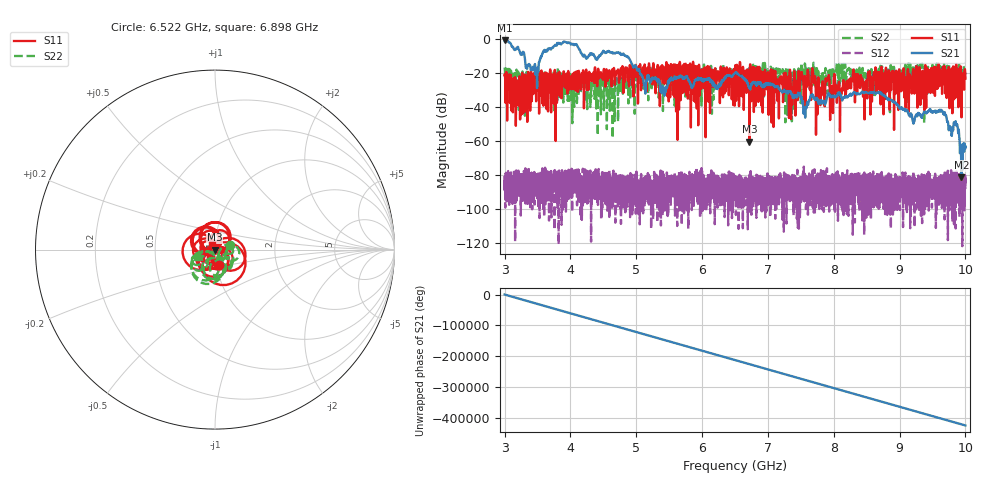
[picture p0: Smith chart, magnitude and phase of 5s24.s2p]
!Agilent Technologies,E8363B,MY43030572,A.06.04.32
!Agilent E8363B: A.06.04.32
!Date: Tuesday, June 07, 2011 08:15:35
!Correction: S11(Full 2 Port(1,2)) S21(Full 2 Port(1,2)) S12(Full 2 Port(1,2)) S22(Full 2 Port(1,2))
!S2P File: Measurements: S11, S21, S12, S22:
# Hz S  dB  R 50
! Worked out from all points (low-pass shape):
!   6401 points, 3 GHz to 10 GHz, reference 50 ohm
!   highest |S21| = -0.79 dB at 3 GHz (marker M1); lowest = -81.3 dB at 9.939 GHz (marker M2)
!   |S21| within 3 dB of the highest: start of sweep to 3.102 GHz; 3.79 GHz to 4.101 GHz (310.4 MHz wide, 7.87 % of centre)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
!   lowest |S11| = -60.4 dB at 6.718 GHz (marker M3), VSWR 1.00, Z = 49.9 - j0.0269 ohm
!   |S11| at or under -10 dB: start of sweep to end of sweep
!   |S22| runs from -58.3 to -13.9 dB; largest |S21 - S12| = 0.91
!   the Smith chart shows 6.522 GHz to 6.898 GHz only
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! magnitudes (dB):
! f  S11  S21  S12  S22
! 3 GHz  -21.3  -0.8  -80.7  -16.7
! 3.477 GHz  -30.7  -18.2  -79.5  -20.8
! 3.793 GHz  -33.3  -3.7  -92.2  -22.5
! 4.167 GHz  -21.1  -8.3  -83.3  -24.7
! 4.782 GHz  -19.4  -8.8  -96.8  -29.1
! 5.126 GHz  -14.9  -26.3  -86.4  -16.6
! 5.334 GHz  -19.5  -23.7  -90.1  -26.7
! 6.23 GHz  -22.7  -28.2  -93.8  -22.7
! 6.5 GHz  -18.6  -20.1  -83.2  -22.4
! 6.718 GHz  -60.4  -28.9  -84.2  -16.6
! 7.353 GHz  -35.5  -31.9  -83.5  -19.9
! 7.558 GHz  -21.7  -40.7  -86.4  -15.0
! 7.667 GHz  -19.5  -33.0  -86.0  -17.4
! 7.829 GHz  -24.9  -37.3  -84.4  -18.7
! 7.904 GHz  -23.4  -33.8  -87.7  -28.7
! 7.967 GHz  -27.8  -33.9  -96.3  -21.2
! 8.834 GHz  -19.2  -35.2  -92.1  -21.6
! 9.215 GHz  -18.5  -49.3  -85.2  -18.9
! 9.658 GHz  -16.4  -43.2  -92.1  -16.4
! 9.869 GHz  -19.8  -50.7  -96.4  -29.8
! 9.939 GHz  -29.9  -81.3  -81.7  -22.9
! 10 GHz  -23.2  -63.4  -83.8  -21.0
